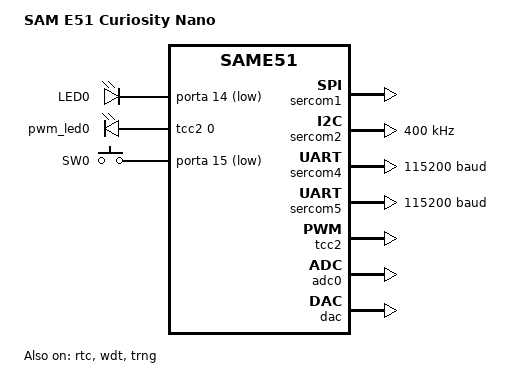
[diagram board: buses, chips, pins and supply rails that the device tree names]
/*
 * Copyright (C) 2025 Microchip Technology Inc. and its subsidiaries
 *
 * SPDX-License-Identifier: Apache-2.0
 */

/dts-v1/;
#include <microchip/sam/sam_d5x_e5x/atsame51/atsame51j20a.dtsi>
#include "same51_cnano-pinctrl.dtsi"
#include <zephyr/dt-bindings/i2c/i2c.h>
#include <zephyr/dt-bindings/input/input-event-codes.h>
#include <zephyr/dt-bindings/adc/adc.h>
#include <zephyr/dt-bindings/adc/mchp_sam_d5x_e5x_adc.h>

/ {
	model = "SAM E51 Curiosity Nano";
	compatible = "microchip,atsame51j20a", "microchip,same51";

	chosen {
		zephyr,console = &sercom5;
		zephyr,shell-uart = &sercom5;
		zephyr,sram = &sram0;
		zephyr,flash = &flash0;
		zephyr,code-partition = &slot0_partition;
		zephyr,flash-controller = &nvmctrl;
		zephyr,entropy = &trng;
	};

	aliases {
		led0 = &led0;
		pwm-led0 = &pwm_led0;
		sw0 = &button0;
		i2c-0 = &sercom2;
		spi-0 = &sercom1;
		rtc = &rtc;
	};

	leds {
		compatible = "gpio-leds";

		led0: led_0 {
			gpios = <&porta 14 GPIO_ACTIVE_LOW>;
			label = "LED0";
		};
	};

	pwmleds {
		compatible = "pwm-leds";

		pwm_led0: pwm_led_0 {
			pwms = <&tcc2 0 PWM_MSEC(20) PWM_POLARITY_INVERTED>;
		};
	};

	buttons {
		compatible = "gpio-keys";

		button0: button_0 {
			gpios = <&porta 15 (GPIO_PULL_UP | GPIO_ACTIVE_LOW)>;
			label = "SW0";
			zephyr,code = <INPUT_KEY_0>;
		};
	};
};

&cpu0 {
	clock-frequency = <120000000>;
};

&clock {
	xosc32k: xosc32k {
		xosc32k-xtal-en = <1>;
		xosc32k-startup-time = <62>;
		xosc32k-gain-mode = "standard";
		xosc32k-en = <1>;
		xosc32k-32khz-en = <1>;
		xosc32k-1khz-en = <1>;
	};

	dfll: dfll {
		dfll-en = <0>;
	};

	fdpll: fdpll {
		/* 32768 Hz * (3661 + 1 + 4 / 32) = 120.0005 MHz */
		fdpll0 {
			subsystem = <CLOCK_MCHP_FDPLL_ID_FDPLL0>;
			fdpll-divider-ratio-int = <3661>;
			fdpll-divider-ratio-frac = <4>;
			fdpll-src = "xosc32k";
			fdpll-en = <1>;
		};
	};

	rtcclock: rtcclock {
		/* XOSC1K */
		rtc-src = <4>;
	};

	gclkgen: gclkgen {
		/* 120 MHz CPU clock */
		gclkgen0 {
			subsystem = <CLOCK_MCHP_GCLKGEN_ID_GEN0>;
			gclkgen-div-factor = <1>;
			gclkgen-run-in-standby-en = <1>;
			gclkgen-src = "fdpll0";
			gclkgen-en = <1>;
		};

		/* 60 MHz peripheral clock */
		gclkgen1 {
			subsystem = <CLOCK_MCHP_GCLKGEN_ID_GEN1>;
			gclkgen-div-factor = <2>;
			gclkgen-run-in-standby-en = <1>;
			gclkgen-src = "fdpll0";
			gclkgen-en = <1>;
		};

		/* 12 MHz DAC clock */
		gclkgen2 {
			subsystem = <CLOCK_MCHP_GCLKGEN_ID_GEN2>;
			gclkgen-div-factor = <10>;
			gclkgen-run-in-standby-en = <1>;
			gclkgen-src = "fdpll0";
			gclkgen-en = <1>;
		};
	};

	gclkperiph: gclkperiph {
		sercom1 {
			subsystem = <CLOCK_MCHP_GCLKPERIPH_ID_SERCOM1_CORE>;
			gclkperiph-src = "gclk1";
		};

		sercom2 {
			subsystem = <CLOCK_MCHP_GCLKPERIPH_ID_SERCOM2_CORE>;
			gclkperiph-src = "gclk1";
		};

		sercom4 {
			subsystem = <CLOCK_MCHP_GCLKPERIPH_ID_SERCOM4_CORE>;
			gclkperiph-src = "gclk1";
		};

		sercom5 {
			subsystem = <CLOCK_MCHP_GCLKPERIPH_ID_SERCOM5_CORE>;
			gclkperiph-src = "gclk1";
		};

		adc0 {
			subsystem = <CLOCK_MCHP_GCLKPERIPH_ID_ADC0>;
			gclkperiph-src = "gclk1";
		};

		dac {
			subsystem = <CLOCK_MCHP_GCLKPERIPH_ID_DAC>;
			gclkperiph-src = "gclk2";
		};
	};
};

&flash0 {
	partitions {
		#address-cells = <1>;
		#size-cells = <1>;
		ranges;

		boot_partition: partition@0 {
			compatible = "zephyr,mapped-partition";
			label = "mcuboot";
			reg = <0x00000000 0x00010000>;
			read-only;
		};

		slot0_partition: partition@10000 {
			compatible = "zephyr,mapped-partition";
			label = "image-0";
			reg = <0x00010000 0x00070000>;
		};

		slot1_partition: partition@80000 {
			compatible = "zephyr,mapped-partition";
			label = "image-1";
			reg = <0x00080000 0x00070000>;
		};

		storage_partition: partition@f0000 {
			compatible = "zephyr,mapped-partition";
			label = "storage";
			reg = <0x000f0000 0x00010000>;
		};
	};
};

&porta {
	status = "okay";
};

&portb {
	status = "okay";
};

&rtc {
	prescaler = <1024>;
	status = "okay";
};

&wdt {
	status = "okay";
};

&trng {
	status = "okay";
};

&sercom1 {
	compatible = "microchip,sercom-g1-spi";
	dipo = <3>;
	dopo = <0>;
	#address-cells = <1>;
	#size-cells = <0>;
	cs-gpios = <&porta 18 GPIO_ACTIVE_LOW>;
	pinctrl-0 = <&sercom1_spi_default>;
	pinctrl-names = "default";
	dmas = <&dmac 7 0x6>, <&dmac 8 0x7>;
	dma-names = "rx", "tx";
	status = "okay";
};

&sercom2 {
	compatible = "microchip,sercom-g1-i2c";
	#address-cells = <1>;
	#size-cells = <0>;
	clock-frequency = <I2C_BITRATE_FAST>;
	pinctrl-0 = <&sercom2_i2c_default>;
	pinctrl-names = "default";
	dmas = <&dmac 5 0x8>, <&dmac 6 0x9>;
	dma-names = "rx", "tx";
	status = "okay";
};

&sercom4 {
	compatible = "microchip,sercom-g1-uart";
	current-speed = <115200>;
	data-bits = <8>;
	parity = "none";
	stop-bits = "1";
	rxpo = <1>;
	txpo = <0>;
	pinctrl-0 = <&sercom4_uart_default>;
	pinctrl-names = "default";
	dmas = <&dmac 3 0xc>, <&dmac 4 0xd>;
	dma-names = "rx", "tx";
	status = "okay";
};

&sercom5 {
	compatible = "microchip,sercom-g1-uart";
	current-speed = <115200>;
	data-bits = <8>;
	parity = "none";
	stop-bits = "1";
	rxpo = <1>;
	txpo = <0>;
	pinctrl-0 = <&sercom5_uart_default>;
	pinctrl-names = "default";
	dmas = <&dmac 1 0xe>, <&dmac 2 0xf>;
	dma-names = "rx", "tx";
	status = "okay";
};

&tcc2 {
	compatible = "microchip,tcc-g1-pwm";
	#pwm-cells = <3>;
	pinctrl-0 = <&tcc2_pwm_default>;
	pinctrl-names = "default";
	prescaler = <8>;
	status = "okay";
};

&adc0 {
	/* ADC clock = GCLK / prescaler (60 MHz / 4 = 15 MHz) */
	prescaler = <4>;
	pinctrl-0 = <&adc0_default>;
	pinctrl-names = "default";
	status = "okay";
};

&dac {
	refsel = "vdd_ana";
	pinctrl-0 = <&dac_default>;
	pinctrl-names = "default";
	status = "okay";
};
